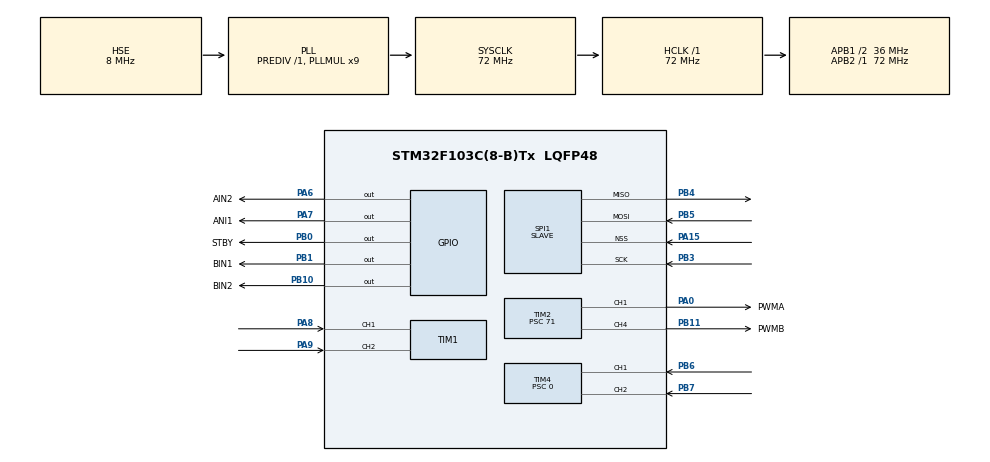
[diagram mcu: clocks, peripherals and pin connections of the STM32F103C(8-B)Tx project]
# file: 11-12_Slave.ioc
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Mcu.Family=STM32F1
Mcu.Name=STM32F103C(8-B)Tx
Mcu.Package=LQFP48
NVIC.PriorityGroup=NVIC_PRIORITYGROUP_4
NVIC.SPI1_IRQn=true\:0\:0\:false\:false\:true\:true\:true\:true
NVIC.TIM3_IRQn=true\:0\:0\:false\:false\:true\:true\:true\:true
PA0-WKUP.GPIO_Label=PWMA
PA0-WKUP.Signal=S_TIM2_CH1_ETR
PA13.Mode=Serial_Wire
PA13.Signal=SYS_JTMS-SWDIO
PA14.Mode=Serial_Wire
PA14.Signal=SYS_JTCK-SWCLK
PA15.Mode=NSS_Signal_Hard_Input
PA15.Signal=SPI1_NSS
PA6.GPIO_Label=AIN2
PA6.Signal=GPIO_Output
PA7.GPIO_Label=ANI1
PA7.Signal=GPIO_Output
PA8.Signal=S_TIM1_CH1
PA9.Signal=S_TIM1_CH2
PB0.GPIO_Label=STBY
PB0.Signal=GPIO_Output
PB1.GPIO_Label=BIN1
PB1.Signal=GPIO_Output
PB10.GPIO_Label=BIN2
PB10.Signal=GPIO_Output
PB11.GPIO_Label=PWMB
PB11.Signal=S_TIM2_CH4
PB3.Mode=Full_Duplex_Slave
PB3.Signal=SPI1_SCK
PB4.Mode=Full_Duplex_Slave
PB4.Signal=SPI1_MISO
PB5.Mode=Full_Duplex_Slave
PB5.Signal=SPI1_MOSI
PB6.Signal=S_TIM4_CH1
PB7.Signal=S_TIM4_CH2
PD0-OSC_IN.Mode=HSE-External-Oscillator
PD0-OSC_IN.Signal=RCC_OSC_IN
PD1-OSC_OUT.Mode=HSE-External-Oscillator
PD1-OSC_OUT.Signal=RCC_OSC_OUT
ProjectManager.HeapSize=0x200
ProjectManager.StackSize=0x400
ProjectManager.TargetToolchain=MDK-ARM V5.32
RCC.AHBFreq_Value=72000000
RCC.APB1CLKDivider=RCC_HCLK_DIV2
RCC.APB1Freq_Value=36000000
RCC.APB1TimFreq_Value=72000000
RCC.APB2Freq_Value=72000000
RCC.APB2TimFreq_Value=72000000
RCC.HCLKFreq_Value=72000000
RCC.PLLMUL=RCC_PLL_MUL9
RCC.PLLSourceVirtual=RCC_PLLSOURCE_HSE
RCC.SYSCLKFreq_VALUE=72000000
RCC.SYSCLKSource=RCC_SYSCLKSOURCE_PLLCLK
RCC.USBFreq_Value=72000000
SH.S_TIM1_CH1.0=TIM1_CH1,Encoder_Interface
SH.S_TIM1_CH2.0=TIM1_CH2,Encoder_Interface
SH.S_TIM2_CH1_ETR.0=TIM2_CH1,PWM Generation1 CH1
SH.S_TIM2_CH4.0=TIM2_CH4,PWM Generation4 CH4
SH.S_TIM4_CH1.0=TIM4_CH1,Encoder_Interface
SH.S_TIM4_CH2.0=TIM4_CH2,Encoder_Interface
SPI1.Direction=SPI_DIRECTION_2LINES
SPI1.Mode=SPI_MODE_SLAVE
SPI1.VirtualNSS=VM_NSSHARD
SPI1.VirtualType=VM_SLAVE
TIM1.EncoderMode=TIM_ENCODERMODE_TI12
TIM2.Channel-PWM\ Generation1\ CH1=TIM_CHANNEL_1
TIM2.Channel-PWM\ Generation4\ CH4=TIM_CHANNEL_4
TIM2.Period=999
TIM2.Prescaler=71
TIM3.Period=10000-1
TIM3.Prescaler=71
TIM4.EncoderMode=TIM_ENCODERMODE_TI12
TIM4.Period=65535
TIM4.Prescaler=0
VP_TIM3_VS_ClockSourceINT.Mode=Internal
board=custom

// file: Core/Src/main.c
/* USER CODE BEGIN Header */
/**
  ******************************************************************************
  * @tacgia   	: Phan Quoc Viet
  * @gmail			: phanquocviet295@gmail.com
  ******************************************************************************
  * @attention
  *
  * Copyright (c) 2023 STMicroelectronics.
  * All rights reserved.
  *
  * This software is licensed under terms that can be found in the LICENSE file
  * in the root directory of this software component.
  * If no LICENSE file comes with this software, it is provided AS-IS.
  *
  ******************************************************************************
  */
/* USER CODE END Header */
#include "main.h"

/* USER CODE BEGIN Includes */
//receive transmit
uint8_t RxBuffer[4];
uint8_t i;
uint8_t ktp = 0;

//input value
float REF1;
float REF2;
uint8_t TH=0; //cac TH dieu khien dong co

//encoder motor value
uint32_t pre_pos1=0,pos1=0; //motor1
uint32_t pre_pos2=0,pos2=0; //motor2
float w1=0,w2=0; //van toc goc hien tai cua motor 1 vа 2
float pre_pwm1 = 0;
float pre_pwm2 = 0;
//PID value
float tpid=0.01; //thoi gian lay mau
//motor 1 (right)
float Kp1=0.35 ,Ki1= 20.5 ,kd1=0; // 0.085
float error1=0,pre_e1=0; //sai so so voi gia tri mong muon
float ipart1=0; //khau tich phan
float pidval1=0;
//motor2 (left)
float Kp2=0.3 ,Ki2= 15.5 , kd2=0; //0.075
float error2=0,pre_e2=0;//sai so so voi gia tri mong muon
float ipart2=0; //khau tich phan
float pidval2=0;

//output value
float pwm1=0,pwm2=0; //xung can cap cho 2 dong co

//reading value
float result1[2000],result2[2000];
int8_t result3[2000];
int8_t pos_val;
uint16_t j=0; //bien dem luu du lieu

/* USER CODE END Includes */

SPI_HandleTypeDef hspi1;

TIM_HandleTypeDef htim1;
TIM_HandleTypeDef htim2;
TIM_HandleTypeDef htim3;
TIM_HandleTypeDef htim4;

void SystemClock_Config(void);
static void MX_GPIO_Init(void);
static void MX_SPI1_Init(void);
static void MX_TIM1_Init(void);
static void MX_TIM2_Init(void);
static void MX_TIM3_Init(void);
static void MX_TIM4_Init(void);
/* USER CODE BEGIN PFP */

void forward(uint16_t pwm1 , uint16_t pwm2 )
{
	HAL_GPIO_WritePin(GPIOB,STBY_Pin,GPIO_PIN_SET);
	HAL_GPIO_WritePin(GPIOB,BIN2_Pin,GPIO_PIN_RESET);	//right
	HAL_GPIO_WritePin(GPIOB,BIN1_Pin,GPIO_PIN_SET);
	HAL_GPIO_WritePin(GPIOA,AIN2_Pin,GPIO_PIN_RESET);	//left
	HAL_GPIO_WritePin(GPIOA,ANI1_Pin,GPIO_PIN_SET);
	__HAL_TIM_SET_COMPARE(&htim2,TIM_CHANNEL_4,pwm1); //left
	__HAL_TIM_SET_COMPARE(&htim2,TIM_CHANNEL_1,pwm2); //right
}

void stop(void)
{
	HAL_GPIO_WritePin(GPIOB,STBY_Pin,GPIO_PIN_RESET);
};

void HAL_SPI_RxCpltCallback(SPI_HandleTypeDef *hspi)
{
	if (hspi->Instance==hspi1.Instance)
	{
		REF1 = RxBuffer[1];
		REF2 = RxBuffer[0];
		if(REF1 > 130) REF1 = 130;
		if(REF2 > 130) REF2 = 130;
		if (RxBuffer[2]>=100) pos_val=RxBuffer[2]-100;
		else pos_val=-RxBuffer[2];
		TH = RxBuffer[3];

	}
}

float tocdoquay(float pre_pos,float pos)
{
	float w;
	if (pre_pos > pos)
	{
		w = (pre_pos - pos)/1.15*3.03;
	}
	else if (pre_pos == pos) w=0;
	else if (pos > pre_pos)
	{
		w= (65535 - pos + pre_pos )/1.15*3.03;
	}
	// if(w>130) w=130;
  return w;
}
void PIDmotor1(float rotate1)
{
	pre_e1=error1;
	error1=rotate1-w1;
	ipart1=ipart1+error1*tpid;
	pidval1 = Kp1*error1 + Ki1*ipart1 + kd1*(error1-pre_e1)/tpid;
	pwm1 = (w1 + pidval1)*1000/130;
	if (pwm1>1000) pwm1=1000;
	if (pwm1 < 0) pwm1 = 0;
}
void PIDmotor2(float rotate2)
{
	pre_e2=error2;
	error2=rotate2-w2;
	ipart2=ipart2+error2*tpid;
	pidval2 = Kp2*error2+Ki2*ipart2+kd2*(error2-pre_e2)/tpid;
	pwm2 = (w2 + pidval2)*1000/130;
	if (pwm2>1000) pwm2=1000;
	if (pwm2<0) pwm2=0;
}

void DecVec(void) // func decrease velocity
{
		forward(200,200);
		HAL_Delay(50);
		forward(100,100);
		HAL_Delay(50);
		stop();
		HAL_Delay(2500);
		forward(600,600);
		HAL_Delay(100);
}

void encoder(void)
{
		pre_pos1=pos1;
		pre_pos2=pos2;
		HAL_Delay(10);
		pos1=__HAL_TIM_GetCounter(&htim1);
		pos2=__HAL_TIM_GetCounter(&htim4);
}
/* USER CODE END PFP */

int main(void)
{

  /* MCU Configuration--------------------------------------------------------*/

  /* Reset of all peripherals, Initializes the Flash interface and the Systick. */
  HAL_Init();

  /* Configure the system clock */
  SystemClock_Config();

  /* Initialize all configured peripherals */
  MX_GPIO_Init();
  MX_SPI1_Init();
  MX_TIM1_Init();
  MX_TIM2_Init();
  MX_TIM3_Init();
  MX_TIM4_Init();
  /* USER CODE BEGIN 2 */
	HAL_TIM_Encoder_Start(&htim4,TIM_CHANNEL_1);
	HAL_TIM_Encoder_Start(&htim4,TIM_CHANNEL_2);
	HAL_TIM_Encoder_Start(&htim1,TIM_CHANNEL_1);
	HAL_TIM_Encoder_Start(&htim1,TIM_CHANNEL_2);
	HAL_TIM_PWM_Start(&htim2,TIM_CHANNEL_1);
	HAL_TIM_PWM_Start(&htim2,TIM_CHANNEL_4);
  /* USER CODE END 2 */

  /* Infinite loop */
  while (1)
  {
		encoder();
		HAL_SPI_Receive_IT(&hspi1,RxBuffer,4);
		ktp++;
		if(ktp > 0)
		{
		ipart1 = 0;
		ipart2 = 0;
		ktp = 0;
		}
		w1= tocdoquay(pre_pos1,pos1);
		w2= tocdoquay(pre_pos2,pos2);

		if(TH == 0) // first
		{
			stop();
		}

		else if(TH == 1) // normal
		{
			PIDmotor1(REF1);
			PIDmotor2(REF2);
			forward(pwm1,pwm2);
		}

		else if(TH == 2) // first stop
		{
		DecVec();
		HAL_SPI_Receive_IT(&hspi1,RxBuffer,4);
		PIDmotor1(REF1);
		PIDmotor2(REF2);
		forward(pwm1,pwm2);
		//forward(a1,a2);
		TH = 1;
		}

		else if(TH == 4) // mau xanh
		{
		forward(400,700 );  // so cu~ 500,1000
		HAL_Delay(400);
		HAL_SPI_Receive_IT(&hspi1,RxBuffer,4);
		TH = 1;
		}

		 else if (TH == 3) // mau do
		{
		forward(800,400);	// so cu~ 1000,500
		HAL_Delay(400);
		HAL_SPI_Receive_IT(&hspi1,RxBuffer,4);
		TH = 1;
		}

  }
}

void SystemClock_Config(void)
{
  RCC_OscInitTypeDef RCC_OscInitStruct = {0};
  RCC_ClkInitTypeDef RCC_ClkInitStruct = {0};

  /** Initializes the RCC Oscillators according to the specified parameters
  * in the RCC_OscInitTypeDef structure.
  */
  RCC_OscInitStruct.OscillatorType = RCC_OSCILLATORTYPE_HSE;
  RCC_OscInitStruct.HSEState = RCC_HSE_ON;
  RCC_OscInitStruct.HSEPredivValue = RCC_HSE_PREDIV_DIV1;
  RCC_OscInitStruct.HSIState = RCC_HSI_ON;
  RCC_OscInitStruct.PLL.PLLState = RCC_PLL_ON;
  RCC_OscInitStruct.PLL.PLLSource = RCC_PLLSOURCE_HSE;
  RCC_OscInitStruct.PLL.PLLMUL = RCC_PLL_MUL9;
  if (HAL_RCC_OscConfig(&RCC_OscInitStruct) != HAL_OK)
  {
    Error_Handler();
  }

  /** Initializes the CPU, AHB and APB buses clocks
  */
  RCC_ClkInitStruct.ClockType = RCC_CLOCKTYPE_HCLK|RCC_CLOCKTYPE_SYSCLK
                              |RCC_CLOCKTYPE_PCLK1|RCC_CLOCKTYPE_PCLK2;
  RCC_ClkInitStruct.SYSCLKSource = RCC_SYSCLKSOURCE_PLLCLK;
  RCC_ClkInitStruct.AHBCLKDivider = RCC_SYSCLK_DIV1;
  RCC_ClkInitStruct.APB1CLKDivider = RCC_HCLK_DIV2;
  RCC_ClkInitStruct.APB2CLKDivider = RCC_HCLK_DIV1;

  if (HAL_RCC_ClockConfig(&RCC_ClkInitStruct, FLASH_LATENCY_2) != HAL_OK)
  {
    Error_Handler();
  }
}

static void MX_SPI1_Init(void)
{

  /* SPI1 parameter configuration*/
  hspi1.Instance = SPI1;
  hspi1.Init.Mode = SPI_MODE_SLAVE;
  hspi1.Init.Direction = SPI_DIRECTION_2LINES;
  hspi1.Init.DataSize = SPI_DATASIZE_8BIT;
  hspi1.Init.CLKPolarity = SPI_POLARITY_LOW;
  hspi1.Init.CLKPhase = SPI_PHASE_1EDGE;
  hspi1.Init.NSS = SPI_NSS_HARD_INPUT;
  hspi1.Init.FirstBit = SPI_FIRSTBIT_MSB;
  hspi1.Init.TIMode = SPI_TIMODE_DISABLE;
  hspi1.Init.CRCCalculation = SPI_CRCCALCULATION_DISABLE;
  hspi1.Init.CRCPolynomial = 10;
  if (HAL_SPI_Init(&hspi1) != HAL_OK)
  {
    Error_Handler();
  }

}

static void MX_TIM1_Init(void)
{

  TIM_Encoder_InitTypeDef sConfig = {0};
  TIM_MasterConfigTypeDef sMasterConfig = {0};

  htim1.Instance = TIM1;
  htim1.Init.Prescaler = 0;
  htim1.Init.CounterMode = TIM_COUNTERMODE_UP;
  htim1.Init.Period = 65535;
  htim1.Init.ClockDivision = TIM_CLOCKDIVISION_DIV1;
  htim1.Init.RepetitionCounter = 0;
  htim1.Init.AutoReloadPreload = TIM_AUTORELOAD_PRELOAD_DISABLE;
  sConfig.EncoderMode = TIM_ENCODERMODE_TI12;
  sConfig.IC1Polarity = TIM_ICPOLARITY_RISING;
  sConfig.IC1Selection = TIM_ICSELECTION_DIRECTTI;
  sConfig.IC1Prescaler = TIM_ICPSC_DIV1;
  sConfig.IC1Filter = 0;
  sConfig.IC2Polarity = TIM_ICPOLARITY_RISING;
  sConfig.IC2Selection = TIM_ICSELECTION_DIRECTTI;
  sConfig.IC2Prescaler = TIM_ICPSC_DIV1;
  sConfig.IC2Filter = 0;
  if (HAL_TIM_Encoder_Init(&htim1, &sConfig) != HAL_OK)
  {
    Error_Handler();
  }
  sMasterConfig.MasterOutputTrigger = TIM_TRGO_RESET;
  sMasterConfig.MasterSlaveMode = TIM_MASTERSLAVEMODE_DISABLE;
  if (HAL_TIMEx_MasterConfigSynchronization(&htim1, &sMasterConfig) != HAL_OK)
  {
    Error_Handler();
  }

}

static void MX_TIM2_Init(void)
{

  TIM_MasterConfigTypeDef sMasterConfig = {0};
  TIM_OC_InitTypeDef sConfigOC = {0};

  htim2.Instance = TIM2;
  htim2.Init.Prescaler = 71;
  htim2.Init.CounterMode = TIM_COUNTERMODE_UP;
  htim2.Init.Period = 999;
  htim2.Init.ClockDivision = TIM_CLOCKDIVISION_DIV1;
  htim2.Init.AutoReloadPreload = TIM_AUTORELOAD_PRELOAD_DISABLE;
  if (HAL_TIM_PWM_Init(&htim2) != HAL_OK)
  {
    Error_Handler();
  }
  sMasterConfig.MasterOutputTrigger = TIM_TRGO_RESET;
  sMasterConfig.MasterSlaveMode = TIM_MASTERSLAVEMODE_DISABLE;
  if (HAL_TIMEx_MasterConfigSynchronization(&htim2, &sMasterConfig) != HAL_OK)
  {
    Error_Handler();
  }
  sConfigOC.OCMode = TIM_OCMODE_PWM1;
  sConfigOC.Pulse = 0;
  sConfigOC.OCPolarity = TIM_OCPOLARITY_HIGH;
  sConfigOC.OCFastMode = TIM_OCFAST_DISABLE;
  if (HAL_TIM_PWM_ConfigChannel(&htim2, &sConfigOC, TIM_CHANNEL_1) != HAL_OK)
  {
    Error_Handler();
  }
  if (HAL_TIM_PWM_ConfigChannel(&htim2, &sConfigOC, TIM_CHANNEL_4) != HAL_OK)
  {
    Error_Handler();
  }
  HAL_TIM_MspPostInit(&htim2);

}

static void MX_TIM3_Init(void)
{

  TIM_ClockConfigTypeDef sClockSourceConfig = {0};
  TIM_MasterConfigTypeDef sMasterConfig = {0};

  htim3.Instance = TIM3;
  htim3.Init.Prescaler = 71;
  htim3.Init.CounterMode = TIM_COUNTERMODE_UP;
  htim3.Init.Period = 10000-1;
  htim3.Init.ClockDivision = TIM_CLOCKDIVISION_DIV1;
  htim3.Init.AutoReloadPreload = TIM_AUTORELOAD_PRELOAD_DISABLE;
  if (HAL_TIM_Base_Init(&htim3) != HAL_OK)
  {
    Error_Handler();
  }
  sClockSourceConfig.ClockSource = TIM_CLOCKSOURCE_INTERNAL;
  if (HAL_TIM_ConfigClockSource(&htim3, &sClockSourceConfig) != HAL_OK)
  {
    Error_Handler();
  }
  sMasterConfig.MasterOutputTrigger = TIM_TRGO_RESET;
  sMasterConfig.MasterSlaveMode = TIM_MASTERSLAVEMODE_DISABLE;
  if (HAL_TIMEx_MasterConfigSynchronization(&htim3, &sMasterConfig) != HAL_OK)
  {
    Error_Handler();
  }

}

static void MX_TIM4_Init(void)
{

  TIM_Encoder_InitTypeDef sConfig = {0};
  TIM_MasterConfigTypeDef sMasterConfig = {0};

  htim4.Instance = TIM4;
  htim4.Init.Prescaler = 0;
  htim4.Init.CounterMode = TIM_COUNTERMODE_UP;
  htim4.Init.Period = 65535;
  htim4.Init.ClockDivision = TIM_CLOCKDIVISION_DIV1;
  htim4.Init.AutoReloadPreload = TIM_AUTORELOAD_PRELOAD_DISABLE;
  sConfig.EncoderMode = TIM_ENCODERMODE_TI12;
  sConfig.IC1Polarity = TIM_ICPOLARITY_RISING;
  sConfig.IC1Selection = TIM_ICSELECTION_DIRECTTI;
  sConfig.IC1Prescaler = TIM_ICPSC_DIV1;
  sConfig.IC1Filter = 0;
  sConfig.IC2Polarity = TIM_ICPOLARITY_RISING;
  sConfig.IC2Selection = TIM_ICSELECTION_DIRECTTI;
  sConfig.IC2Prescaler = TIM_ICPSC_DIV1;
  sConfig.IC2Filter = 0;
  if (HAL_TIM_Encoder_Init(&htim4, &sConfig) != HAL_OK)
  {
    Error_Handler();
  }
  sMasterConfig.MasterOutputTrigger = TIM_TRGO_RESET;
  sMasterConfig.MasterSlaveMode = TIM_MASTERSLAVEMODE_DISABLE;
  if (HAL_TIMEx_MasterConfigSynchronization(&htim4, &sMasterConfig) != HAL_OK)
  {
    Error_Handler();
  }

}

static void MX_GPIO_Init(void)
{
  GPIO_InitTypeDef GPIO_InitStruct = {0};

  /* GPIO Ports Clock Enable */
  __HAL_RCC_GPIOD_CLK_ENABLE();
  __HAL_RCC_GPIOA_CLK_ENABLE();
  __HAL_RCC_GPIOB_CLK_ENABLE();

  /*Configure GPIO pin Output Level */
  HAL_GPIO_WritePin(GPIOA, AIN2_Pin|ANI1_Pin, GPIO_PIN_RESET);

  /*Configure GPIO pin Output Level */
  HAL_GPIO_WritePin(GPIOB, STBY_Pin|BIN1_Pin|BIN2_Pin, GPIO_PIN_RESET);

  /*Configure GPIO pins : AIN2_Pin ANI1_Pin */
  GPIO_InitStruct.Pin = AIN2_Pin|ANI1_Pin;
  GPIO_InitStruct.Mode = GPIO_MODE_OUTPUT_PP;
  GPIO_InitStruct.Pull = GPIO_NOPULL;
  GPIO_InitStruct.Speed = GPIO_SPEED_FREQ_LOW;
  HAL_GPIO_Init(GPIOA, &GPIO_InitStruct);

  /*Configure GPIO pins : STBY_Pin BIN1_Pin BIN2_Pin */
  GPIO_InitStruct.Pin = STBY_Pin|BIN1_Pin|BIN2_Pin;
  GPIO_InitStruct.Mode = GPIO_MODE_OUTPUT_PP;
  GPIO_InitStruct.Pull = GPIO_NOPULL;
  GPIO_InitStruct.Speed = GPIO_SPEED_FREQ_LOW;
  HAL_GPIO_Init(GPIOB, &GPIO_InitStruct);

}

void Error_Handler(void)
{
  __disable_irq();
  while (1)
  {
  }
}
